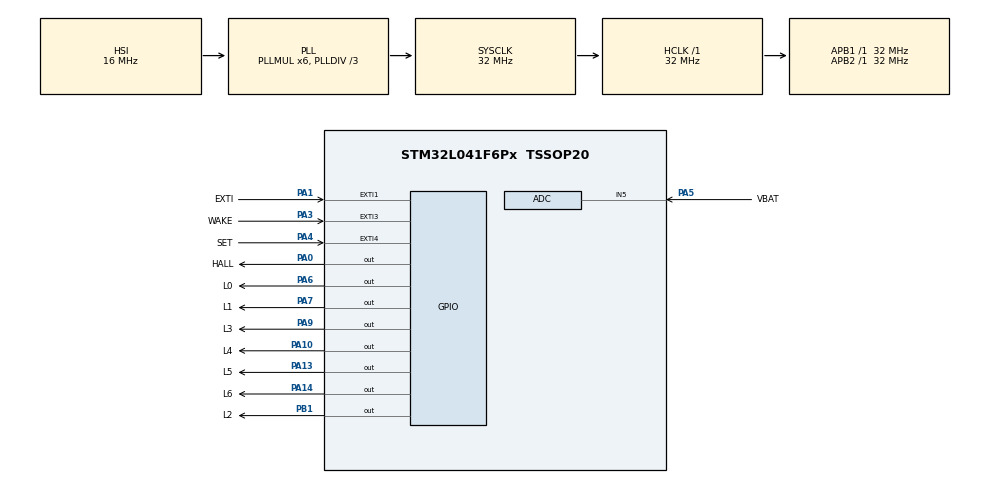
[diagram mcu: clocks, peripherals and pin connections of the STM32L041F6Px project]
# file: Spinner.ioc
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ADC.ContinuousConvMode=ENABLE
ADC.SamplingTime=ADC_SAMPLETIME_160CYCLES_5
Mcu.Family=STM32L0
Mcu.Name=STM32L041F6Px
Mcu.Package=TSSOP20
NVIC.EXTI0_1_IRQn=true\:0\:0\:true\:false\:true\:true\:true
NVIC.EXTI2_3_IRQn=true\:0\:0\:true\:false\:true\:true\:true
NVIC.EXTI4_15_IRQn=true\:0\:0\:true\:false\:true\:true\:true
NVIC.TIM2_IRQn=true\:0\:0\:false\:false\:true\:true\:true
PA0-CK_IN.GPIO_Label=HALL
PA0-CK_IN.Signal=GPIO_Output
PA1.GPIO_Label=EXTI
PA1.GPIO_ModeDefaultEXTI=GPIO_MODE_IT_RISING
PA1.GPIO_PuPd=GPIO_NOPULL
PA1.Signal=GPXTI1
PA10.GPIO_Label=L4
PA10.Signal=GPIO_Output
PA13.GPIO_Label=L5
PA13.Signal=GPIO_Output
PA14.GPIO_Label=L6
PA14.Signal=GPIO_Output
PA3.GPIO_Label=WAKE
PA3.GPIO_ModeDefaultEXTI=GPIO_MODE_IT_FALLING
PA3.GPIO_PuPd=GPIO_PULLUP
PA3.Signal=GPXTI3
PA4.GPIO_Label=SET
PA4.GPIO_ModeDefaultEXTI=GPIO_MODE_IT_FALLING
PA4.GPIO_PuPd=GPIO_PULLUP
PA4.Signal=GPXTI4
PA5.GPIO_Label=VBAT
PA5.Mode=IN5
PA5.Signal=ADC_IN5
PA6.GPIO_Label=L0
PA6.Signal=GPIO_Output
PA7.GPIO_Label=L1
PA7.Signal=GPIO_Output
PA9.GPIO_Label=L3
PA9.Signal=GPIO_Output
PB1.GPIO_Label=L2
PB1.Signal=GPIO_Output
PC14-OSC32_IN.Mode=LSE-External-Oscillator
PC14-OSC32_IN.Signal=RCC_OSC32_IN
PC15-OSC32_OUT.Mode=LSE-External-Oscillator
PC15-OSC32_OUT.Signal=RCC_OSC32_OUT
ProjectManager.HeapSize=0x200
ProjectManager.StackSize=0x400
ProjectManager.TargetToolchain=SW4STM32
RCC.AHBFreq_Value=32000000
RCC.APB1Freq_Value=32000000
RCC.APB1TimFreq_Value=32000000
RCC.APB2Freq_Value=32000000
RCC.APB2TimFreq_Value=32000000
RCC.HCLKFreq_Value=32000000
RCC.HSE_VALUE=8000000
RCC.HSI16_VALUE=16000000
RCC.HSI_VALUE=16000000
RCC.MSI_VALUE=2097000
RCC.PLLDIV=RCC_PLLDIV_3
RCC.PLLMUL=RCC_PLLMUL_6
RCC.RTCClockSelection=RCC_RTCCLKSOURCE_LSE
RCC.RTCClockSelectionVirtual=RCC_RTCCLKSOURCE_LSE
RCC.SYSCLKFreq_VALUE=32000000
RCC.SYSCLKSource=RCC_SYSCLKSOURCE_PLLCLK
RCC.VCOOutputFreq_Value=96000000
RTC.AsynchPrediv=127
RTC.Date=1
RTC.DayLightSaving=RTC_DAYLIGHTSAVING_NONE
RTC.Format=RTC_FORMAT_BIN
RTC.HourFormat=RTC_HOURFORMAT_12
RTC.Hours=1
RTC.Minutes=30
RTC.Month=RTC_MONTH_JANUARY
RTC.Seconds=40
RTC.StoreOperation=RTC_STOREOPERATION_RESET
RTC.SynchPrediv=255
RTC.TimeFormat=RTC_HOURFORMAT12_AM
RTC.WeekDay=RTC_WEEKDAY_MONDAY
RTC.Year=0
TIM2.AutoReloadPreload=TIM_AUTORELOAD_PRELOAD_ENABLE
TIM2.ClockDivision=TIM_CLOCKDIVISION_DIV1
TIM2.CounterMode=TIM_COUNTERMODE_UP
TIM2.Period=7999
TIM2.Prescaler=3999
VP_RTC_VS_RTC_Activate.Mode=RTC_Enabled
VP_RTC_VS_RTC_Calendar.Mode=RTC_Calendar
VP_TIM2_VS_ClockSourceINT.Mode=Internal
board=custom

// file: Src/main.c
/* USER CODE BEGIN Header */
/**
 ******************************************************************************
 * @file           : main.c
 * @brief          : Main program body
 ******************************************************************************
 * @attention
 *
 * <h2><center>&copy; Copyright (c) 2019 STMicroelectronics.
 * All rights reserved.</center></h2>
 *
 * This software component is licensed by ST under BSD 3-Clause license,
 * the "License"; You may not use this file except in compliance with the
 * License. You may obtain a copy of the License at:
 *                        opensource.org/licenses/BSD-3-Clause
 *
 ******************************************************************************
 * Bart's Phantom
 *
 * PA1- added function for testing display, functions in separated file
 * PA2- more code comments, added function for display pointers
 * MS1- working clock, correct direct(clockwise :) )
 * MS2- working clock, working synchro
 * v0.1 pre alpha- ondemand start- not tested
 * v0.2 PA2 - tested on synchro board, working. Problem with synchro.
 * v0.2 PA3 - low power modes- first attempt
 * v0.3 PA4 - migrate to L041F6
 * v0.4 MS3 - milestone3:
 * 			setting time
 * 			low power modes
 * 			removed blinking
 *
 * v0.5
 * 			ondemand/force select
 *
 * v0.55
 * 			correct clock setting
 * 			hour pointer fix(now is dependent of minutes)
 *
 * v0.56
 * 			now columnTime are counted by sync interrupt only on start. If working, columnTime are only corrected in matrixDisplay() function.
 * 			added subsecond marker
 * 			sync interrupt time changed for 1 sec
 * 			added busy flag(but it isnt in use).
 * 			rpt is set to 0 after wakeup.

 * v0.57
 * 			fixed freeze bug on the sun.
 *
 * v0.58
 * 			shorted working time.
 *
 * v0.59
 * 			prepared for Synchro v0.2 board- disabled pullup for exti pin.
 * 			changed for hall sensor
 *
 *v0.6
 *			corrected counter clockwise mode- now just the matrix is shown swapped.
 *
 *v0.7
 *			added new matrixDisplah.c file for reverse columnTime counting.
 *
 *v0.71
 *			new idea for columnTimeCounting
 *
 *v0.72
 *			return to old columnTime counting
 *
 *v0.73
 *			auto sleep also in settings mode
 *			clock will not be reset if you enter settings mode :)
 *
 *v0.74
 *			added weak time- if rpt is below limit for selected time - clock will go to sleep
 *
 *v0.8
 *			batterystate measurement + force mode are now disabled, if state <10
 *
 *v1.0
 *			clock read only in displayMatrixCcw function, for fix shaking screen
 *			clock setting is now function, defined in rtc.h
 *			fixed working time in settings mode if force are active.
 *
 *v1.1
 *			corrections of working time, weak time, and min rpt.
 *
 *v1.2
 *			dynamic correction of columnTime, faster than lower rpt
 *
 * test
 *todo:
 *shaky screen- caused by matrixWriteTime(); Move this function to TIM2 interrupt.
 *counting columnTime is not enough presice. Where's the problem?
 *add temperature measurement
 *make secure- second hour digit must be set to - when first was set above 0.
 *hour will be reset at clock settings.
 *too short hour pointer between 0 and 1.

 currents:
 stop mode- 64uA

 Battery lifetime:
 cells: 2x lipo 120mAh
 30sec runs: 180
 idle: 150 days
 force working: 1h30'
 charging: 250mA / 1h
 */
/* USER CODE END Header */

#include "main.h"

/* USER CODE BEGIN Includes */
#include "matrixDisplay.h"
#include "rtc.h"
#include "adc.h"

/* USER CODE END Includes */

ADC_HandleTypeDef hadc;

RTC_HandleTypeDef hrtc;

TIM_HandleTypeDef htim2;

void SystemClock_Config(void);
static void MX_GPIO_Init(void);
static void MX_RTC_Init(void);
static void MX_TIM2_Init(void);
static void MX_ADC_Init(void);

int main(void) {

	/* MCU Configuration--------------------------------------------------------*/

	/* Reset of all peripherals, Initializes the Flash interface and the Systick. */
	HAL_Init();

	/* Configure the system clock */
	SystemClock_Config();

	/* Initialize all configured peripherals */
	MX_GPIO_Init();
	MX_RTC_Init();
	MX_TIM2_Init();
	MX_ADC_Init();
	/* USER CODE BEGIN 2 */
	matrixDisplayInit();
	adcInit();

	/* USER CODE END 2 */

	/* Infinite loop */
	/* USER CODE BEGIN WHILE */
	while (1) {

		//SECTION 0 - display mode

		if (mode == 1) {
			HALL_ON; //turn on interrupter ant vent
			if (rpt >= minRpt) { //if rpt are enough, run display
				matrixDisplayCcw();
			} else { //if watch still accelerates, show splash
				matrixSplash(50);
			}

		}

		if (mode == 0) { //this mode are set by sync interrupt, when workingCounter are bigger than set(when displaying time is up).
			HALL_OFF; //turn off interrupter and vent
			ALL_OFF
			;
			HAL_PWR_EnterSTOPMode(PWR_MAINREGULATOR_ON, PWR_STOPENTRY_WFI); //go to stop mode :)
		}

		//SECTION 1 - //force/ondemand mode select - press SET and WAKE parallel
		if (WAKE) {

			HAL_Delay(contacts);

			if (SET && WAKE) {
				for (uint8_t i = 0; i < 6; i++) { //settings enter splash- blink all 3 times
					toggleAll();
					HAL_Delay(100);
				}

				if (forceMode == 1) {
					forceMode = 0;
				} else if (forceMode == 0) {
					forceMode = 1;
				}

				HAL_Delay(contacts);
			}
		}

		//SECTION 2 - CLOCK SETTING //press SET only
		clockSetting();

		/* USER CODE END WHILE */

	}
}

void SystemClock_Config(void) {
	RCC_OscInitTypeDef RCC_OscInitStruct = { 0 };
	RCC_ClkInitTypeDef RCC_ClkInitStruct = { 0 };
	RCC_PeriphCLKInitTypeDef PeriphClkInit = { 0 };

	/** Configure the main internal regulator output voltage
	 */
	__HAL_PWR_VOLTAGESCALING_CONFIG(PWR_REGULATOR_VOLTAGE_SCALE1);
	/** Configure LSE Drive Capability
	 */
	HAL_PWR_EnableBkUpAccess();
	__HAL_RCC_LSEDRIVE_CONFIG(RCC_LSEDRIVE_LOW);
	/** Initializes the CPU, AHB and APB busses clocks
	 */
	RCC_OscInitStruct.OscillatorType = RCC_OSCILLATORTYPE_HSI
			| RCC_OSCILLATORTYPE_LSE;
	RCC_OscInitStruct.LSEState = RCC_LSE_ON;
	RCC_OscInitStruct.HSIState = RCC_HSI_ON;
	RCC_OscInitStruct.HSICalibrationValue = RCC_HSICALIBRATION_DEFAULT;
	RCC_OscInitStruct.PLL.PLLState = RCC_PLL_ON;
	RCC_OscInitStruct.PLL.PLLSource = RCC_PLLSOURCE_HSI;
	RCC_OscInitStruct.PLL.PLLMUL = RCC_PLLMUL_6;
	RCC_OscInitStruct.PLL.PLLDIV = RCC_PLLDIV_3;
	if (HAL_RCC_OscConfig(&RCC_OscInitStruct) != HAL_OK) {
		Error_Handler();
	}
	/** Initializes the CPU, AHB and APB busses clocks
	 */
	RCC_ClkInitStruct.ClockType = RCC_CLOCKTYPE_HCLK | RCC_CLOCKTYPE_SYSCLK
			| RCC_CLOCKTYPE_PCLK1 | RCC_CLOCKTYPE_PCLK2;
	RCC_ClkInitStruct.SYSCLKSource = RCC_SYSCLKSOURCE_PLLCLK;
	RCC_ClkInitStruct.AHBCLKDivider = RCC_SYSCLK_DIV1;
	RCC_ClkInitStruct.APB1CLKDivider = RCC_HCLK_DIV1;
	RCC_ClkInitStruct.APB2CLKDivider = RCC_HCLK_DIV1;

	if (HAL_RCC_ClockConfig(&RCC_ClkInitStruct, FLASH_LATENCY_1) != HAL_OK) {
		Error_Handler();
	}
	PeriphClkInit.PeriphClockSelection = RCC_PERIPHCLK_RTC;
	PeriphClkInit.RTCClockSelection = RCC_RTCCLKSOURCE_LSE;
	if (HAL_RCCEx_PeriphCLKConfig(&PeriphClkInit) != HAL_OK) {
		Error_Handler();
	}
}

static void MX_ADC_Init(void) {

	ADC_ChannelConfTypeDef sConfig = { 0 };

	/** Configure the global features of the ADC (Clock, Resolution, Data Alignment and number of conversion)
	 */
	hadc.Instance = ADC1;
	hadc.Init.OversamplingMode = DISABLE;
	hadc.Init.ClockPrescaler = ADC_CLOCK_SYNC_PCLK_DIV2;
	hadc.Init.Resolution = ADC_RESOLUTION_12B;
	hadc.Init.SamplingTime = ADC_SAMPLETIME_160CYCLES_5;
	hadc.Init.ScanConvMode = ADC_SCAN_DIRECTION_FORWARD;
	hadc.Init.DataAlign = ADC_DATAALIGN_RIGHT;
	hadc.Init.ContinuousConvMode = ENABLE;
	hadc.Init.DiscontinuousConvMode = DISABLE;
	hadc.Init.ExternalTrigConvEdge = ADC_EXTERNALTRIGCONVEDGE_NONE;
	hadc.Init.ExternalTrigConv = ADC_SOFTWARE_START;
	hadc.Init.DMAContinuousRequests = DISABLE;
	hadc.Init.EOCSelection = ADC_EOC_SINGLE_CONV;
	hadc.Init.Overrun = ADC_OVR_DATA_PRESERVED;
	hadc.Init.LowPowerAutoWait = DISABLE;
	hadc.Init.LowPowerFrequencyMode = DISABLE;
	hadc.Init.LowPowerAutoPowerOff = DISABLE;
	if (HAL_ADC_Init(&hadc) != HAL_OK) {
		Error_Handler();
	}
	/** Configure for the selected ADC regular channel to be converted.
	 */
	sConfig.Channel = ADC_CHANNEL_5;
	sConfig.Rank = ADC_RANK_CHANNEL_NUMBER;
	if (HAL_ADC_ConfigChannel(&hadc, &sConfig) != HAL_OK) {
		Error_Handler();
	}

}

static void MX_RTC_Init(void) {

	RTC_TimeTypeDef sTime = { 0 };
	RTC_DateTypeDef sDate = { 0 };

	/** Initialize RTC Only
	 */
	hrtc.Instance = RTC;
	hrtc.Init.HourFormat = RTC_HOURFORMAT_12;
	hrtc.Init.AsynchPrediv = 127;
	hrtc.Init.SynchPrediv = 255;
	hrtc.Init.OutPut = RTC_OUTPUT_DISABLE;
	hrtc.Init.OutPutRemap = RTC_OUTPUT_REMAP_NONE;
	hrtc.Init.OutPutPolarity = RTC_OUTPUT_POLARITY_HIGH;
	hrtc.Init.OutPutType = RTC_OUTPUT_TYPE_OPENDRAIN;
	if (HAL_RTC_Init(&hrtc) != HAL_OK) {
		Error_Handler();
	}

	/** Initialize RTC and set the Time and Date
	 */
	sTime.Hours = 1;
	sTime.Minutes = 30;
	sTime.Seconds = 40;
	sTime.TimeFormat = RTC_HOURFORMAT12_AM;
	sTime.DayLightSaving = RTC_DAYLIGHTSAVING_NONE;
	sTime.StoreOperation = RTC_STOREOPERATION_RESET;
	if (HAL_RTC_SetTime(&hrtc, &sTime, RTC_FORMAT_BIN) != HAL_OK) {
		Error_Handler();
	}
	sDate.WeekDay = RTC_WEEKDAY_MONDAY;
	sDate.Month = RTC_MONTH_JANUARY;
	sDate.Date = 1;
	sDate.Year = 0;

	if (HAL_RTC_SetDate(&hrtc, &sDate, RTC_FORMAT_BIN) != HAL_OK) {
		Error_Handler();
	}

}

static void MX_TIM2_Init(void) {

	TIM_ClockConfigTypeDef sClockSourceConfig = { 0 };
	TIM_MasterConfigTypeDef sMasterConfig = { 0 };

	htim2.Instance = TIM2;
	htim2.Init.Prescaler = 3999;
	htim2.Init.CounterMode = TIM_COUNTERMODE_UP;
	htim2.Init.Period = 7999;
	htim2.Init.ClockDivision = TIM_CLOCKDIVISION_DIV1;
	htim2.Init.AutoReloadPreload = TIM_AUTORELOAD_PRELOAD_ENABLE;
	if (HAL_TIM_Base_Init(&htim2) != HAL_OK) {
		Error_Handler();
	}
	sClockSourceConfig.ClockSource = TIM_CLOCKSOURCE_INTERNAL;
	if (HAL_TIM_ConfigClockSource(&htim2, &sClockSourceConfig) != HAL_OK) {
		Error_Handler();
	}
	sMasterConfig.MasterOutputTrigger = TIM_TRGO_RESET;
	sMasterConfig.MasterSlaveMode = TIM_MASTERSLAVEMODE_DISABLE;
	if (HAL_TIMEx_MasterConfigSynchronization(&htim2, &sMasterConfig)
			!= HAL_OK) {
		Error_Handler();
	}

}

static void MX_GPIO_Init(void) {
	GPIO_InitTypeDef GPIO_InitStruct = { 0 };

	/* GPIO Ports Clock Enable */
	__HAL_RCC_GPIOC_CLK_ENABLE()
	;
	__HAL_RCC_GPIOA_CLK_ENABLE()
	;
	__HAL_RCC_GPIOB_CLK_ENABLE()
	;

	/*Configure GPIO pin Output Level */
	HAL_GPIO_WritePin(GPIOA,
			HALL_Pin | L0_Pin | L1_Pin | L3_Pin | L4_Pin | L5_Pin | L6_Pin,
			GPIO_PIN_RESET);

	/*Configure GPIO pin Output Level */
	HAL_GPIO_WritePin(L2_GPIO_Port, L2_Pin, GPIO_PIN_RESET);

	/*Configure GPIO pins : HALL_Pin L0_Pin L1_Pin L3_Pin
	 L4_Pin L5_Pin L6_Pin */
	GPIO_InitStruct.Pin = HALL_Pin | L0_Pin | L1_Pin | L3_Pin | L4_Pin | L5_Pin
			| L6_Pin;
	GPIO_InitStruct.Mode = GPIO_MODE_OUTPUT_PP;
	GPIO_InitStruct.Pull = GPIO_NOPULL;
	GPIO_InitStruct.Speed = GPIO_SPEED_FREQ_LOW;
	HAL_GPIO_Init(GPIOA, &GPIO_InitStruct);

	/*Configure GPIO pin : EXTI_Pin */
	GPIO_InitStruct.Pin = EXTI_Pin;
	GPIO_InitStruct.Mode = GPIO_MODE_IT_RISING;
	GPIO_InitStruct.Pull = GPIO_NOPULL;
	HAL_GPIO_Init(EXTI_GPIO_Port, &GPIO_InitStruct);

	/*Configure GPIO pins : WAKE_Pin SET_Pin */
	GPIO_InitStruct.Pin = WAKE_Pin | SET_Pin;
	GPIO_InitStruct.Mode = GPIO_MODE_IT_FALLING;
	GPIO_InitStruct.Pull = GPIO_PULLUP;
	HAL_GPIO_Init(GPIOA, &GPIO_InitStruct);

	/*Configure GPIO pin : L2_Pin */
	GPIO_InitStruct.Pin = L2_Pin;
	GPIO_InitStruct.Mode = GPIO_MODE_OUTPUT_PP;
	GPIO_InitStruct.Pull = GPIO_NOPULL;
	GPIO_InitStruct.Speed = GPIO_SPEED_FREQ_LOW;
	HAL_GPIO_Init(L2_GPIO_Port, &GPIO_InitStruct);

	/* EXTI interrupt init*/
	HAL_NVIC_SetPriority(EXTI0_1_IRQn, 0, 0);
	HAL_NVIC_EnableIRQ(EXTI0_1_IRQn);

	HAL_NVIC_SetPriority(EXTI2_3_IRQn, 0, 0);
	HAL_NVIC_EnableIRQ(EXTI2_3_IRQn);

	HAL_NVIC_SetPriority(EXTI4_15_IRQn, 0, 0);
	HAL_NVIC_EnableIRQ(EXTI4_15_IRQn);

}

void Error_Handler(void) {
}

/************************ (C) COPYRIGHT STMicroelectronics *****END OF FILE****/
